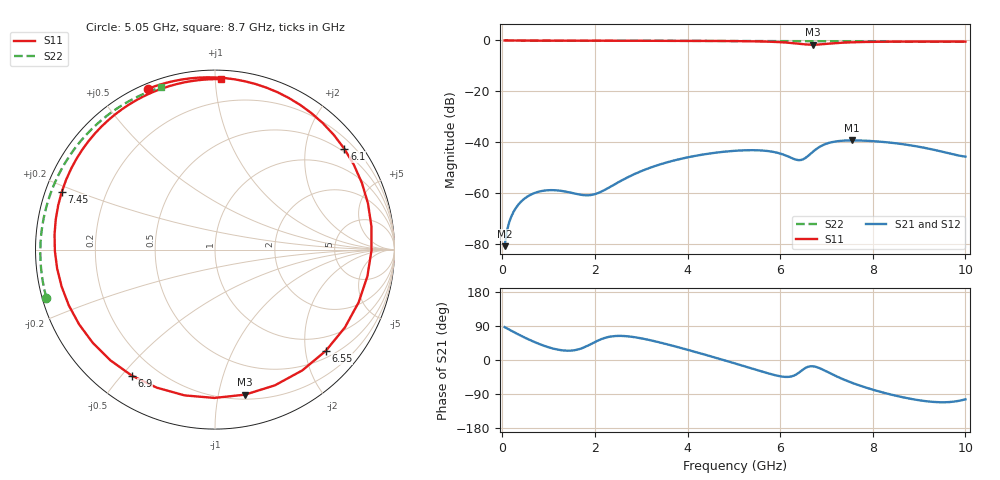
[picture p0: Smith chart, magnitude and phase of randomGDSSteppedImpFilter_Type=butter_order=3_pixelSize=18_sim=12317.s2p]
! freq	dB(S11)	phase(S11)	dB(S12)	phase(S12)
!  dB(S21)	phase(S21)	dB(S22)	phase(S22)
!S-par simulation data
#  GHz  S  DB  R 50
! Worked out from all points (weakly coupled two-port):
!   200 points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, 50 MHz to 10 GHz, reference 50 ohm
!   highest |S21| = -39.25 dB at 7.55 GHz (marker M1); lowest = -80.8 dB at 50 MHz (marker M2)
!   lowest |S11| = -1.7 dB at 6.7 GHz (marker M3), VSWR 10.45, Z = 11.8 - j60 ohm
!   |S11| at or under -10 dB: nowhere
!   |S22| runs from -0.5 to 0.0 dB; largest |S21 - S12| = 0
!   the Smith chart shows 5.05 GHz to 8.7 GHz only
!   S11 on the Smith chart (normalised r, x): 5.05 GHz: 0.02, +0.67; 6.1 GHz: 0.42, +2.85; 6.55 GHz: 0.65, -2.43; 6.9 GHz: 0.11, -0.53; 7.45 GHz: 0.05, +0.18; 8.7 GHz: 0.05, +1.04
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0.05  -0.00 -4.6  -80.80 86.7  -80.80 86.7  -0.00 -2.1
0.2  -0.03 -18.3  -68.92 76.9  -68.92 76.9  -0.01 -8.3
0.55  -0.07 -48.5  -61.23 55.4  -61.23 55.4  -0.03 -22.5
1.05  -0.09 -85.7  -58.78 31.7  -58.78 31.7  -0.05 -42.3
1.75  -0.11 -125.4  -60.74 32.5  -60.74 32.5  -0.08 -68.4
2.5  -0.12 -157.3  -55.76 63.6  -55.76 63.6  -0.11 -93.8
3.4  -0.14 171.5  -48.72 46.3  -48.72 46.3  -0.14 -121.0
4.25  -0.18 143.3  -45.06 18.5  -45.06 18.5  -0.17 -144.0
5.05  -0.26 112.7  -43.30 -9.9  -43.30 -9.9  -0.20 -164.0
5.7  -0.45 76.2  -43.37 -33.7  -43.37 -33.7  -0.24 -179.6
6.1  -0.78 37.9  -45.03 -44.6  -45.03 -44.6  -0.26 170.9
6.35  -1.19 -0.4  -46.86 -37.9  -46.86 -37.9  -0.27 165.0
6.55  -1.55 -42.4  -46.10 -20.7  -46.10 -20.7  -0.28 160.3
6.7  -1.67 -78.3  -43.82 -16.5  -43.82 -16.5  -0.29 156.8
6.9  -1.50 -123.5  -41.32 -24.2  -41.32 -24.2  -0.31 152.1
7.15  -1.12 -166.4  -39.82 -39.2  -39.82 -39.2  -0.32 146.2
7.45  -0.80 159.4  -39.29 -55.4  -39.29 -55.4  -0.34 139.0
7.55  -0.73 150.7  -39.25 -60.1  -39.25 -60.1  -0.35 136.6
7.9  -0.57 126.5  -39.43 -74.6  -39.43 -74.6  -0.37 128.1
8.35  -0.48 103.1  -40.09 -89.9  -40.09 -89.9  -0.40 117.0
8.7  -0.45 87.8  -40.88 -99.6  -40.88 -99.6  -0.42 108.3
10  -0.46 39.4  -45.65 -103.7  -45.65 -103.7  -0.51 74.3
